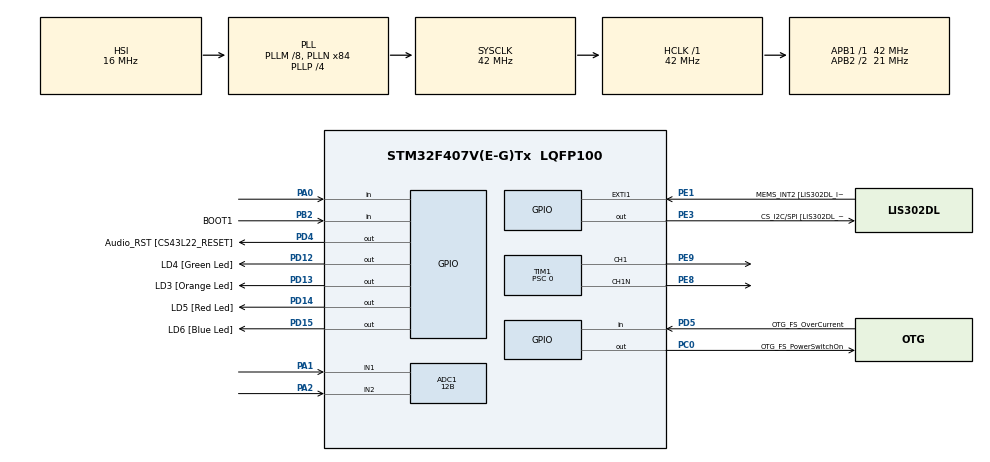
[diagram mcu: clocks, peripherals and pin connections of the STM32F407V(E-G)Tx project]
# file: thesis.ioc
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PA11.GPIO_Speed=GPIO_SPEED_FREQ_LOW
PD12.GPIO_Label=LD4 [Green Led]
PH0-OSC_IN.Signal=RCC_OSC_IN
PC10.GPIO_PuPd=GPIO_NOPULL
PB10.GPIO_PuPd=GPIO_NOPULL
TIM1.Pulse-PWM\ Generation1\ CH1\ CH1N=210
PA10.GPIO_PuPd=GPIO_NOPULL
PC12.Signal=I2S3_SD
PA14.GPIO_Label=SWCLK
PA6.GPIO_Label=SPI1_MISO [LIS302DL_SDO]
PB6.GPIO_Label=Audio_SCL [CS43L22_SCL]
PC15-OSC32_OUT.GPIO_Label=PC15-OSC32_OUT
RCC.SYSCLKSource=RCC_SYSCLKSOURCE_PLLCLK
PC3.GPIO_Speed=GPIO_SPEED_FREQ_LOW
PA6.GPIO_Mode=GPIO_MODE_AF_PP
PD14.GPIO_Speed=GPIO_SPEED_FREQ_LOW
PD4.Signal=GPIO_Output
RCC.APB2TimFreq_Value=42000000
Dma.ADC1.0.Direction=DMA_PERIPH_TO_MEMORY
PB6.Signal=I2C1_SCL
ADC1.Channel-2\#ChannelRegularConversion=ADC_CHANNEL_2
PC7.Signal=I2S3_MCK
ADC1.InjNumberOfConversion=0
PC3.Signal=I2S2_SD
PE1.Signal=GPXTI1
Dma.ADC1.0.MemDataAlignment=DMA_MDATAALIGN_HALFWORD
PB2.Signal=GPIO_Input
PE9.Signal=S_TIM1_CH1
PA5.GPIO_PuPd=GPIO_NOPULL
Dma.ADC1.0.PeriphInc=DMA_PINC_DISABLE
TIM1.DeadTime=5
NVIC.TIM2_IRQn=true\:0\:0\:false\:false\:true\:true\:true
PD5.GPIO_Mode=GPIO_MODE_INPUT
PD14.GPIO_PuPd=GPIO_NOPULL
PB2.GPIO_PuPd=GPIO_NOPULL
VP_TIM1_VS_ClockSourceINT.Mode=Internal
Mcu.Package=LQFP100
PB9.Signal=I2C1_SDA
TIM2.Prescaler=42
PD12.Signal=GPIO_Output
PA10.Signal=USB_OTG_FS_ID
PB9.GPIO_PuPd=GPIO_NOPULL
RCC.APB2CLKDivider=RCC_HCLK_DIV2
RCC.APB1TimFreq_Value=42000000
Dma.ADC1.0.FIFOMode=DMA_FIFOMODE_DISABLE
TIM1.Period=420
PC12.GPIO_PuPd=GPIO_NOPULL
PA6.GPIO_Speed=GPIO_SPEED_FREQ_LOW
PA12.GPIO_PuPd=GPIO_NOPULL
PA4.GPIO_Label=I2S3_WS [CS43L22_LRCK]
ADC1.EOCSelection=ADC_EOC_SEQ_CONV
PD15.Signal=GPIO_Output
PC0.PinState=GPIO_PIN_SET
TIM1.OCPolarity_1=TIM_OCPOLARITY_HIGH
Dma.ADC1.0.Instance=DMA2_Stream0
PA9.GPIO_Label=VBUS_FS
PB6.GPIO_PuPd=GPIO_NOPULL
PA11.GPIO_Label=OTG_FS_DM
PE1.GPIO_PuPd=GPIO_NOPULL
TIM1.Channel-PWM\ Generation1\ CH1\ CH1N=TIM_CHANNEL_1
PC0.Signal=GPIO_Output
PC14-OSC32_IN.Signal=RCC_OSC32_IN
PA0-WKUP.Signal=GPIO_Input
PE8.Mode=PWM Generation1 CH1 CH1N
TIM1.AutoReloadPreload=TIM_AUTORELOAD_PRELOAD_ENABLE
PC10.GPIO_Mode=GPIO_MODE_AF_PP
PB10.GPIO_Mode=GPIO_MODE_AF_PP
Dma.ADC1.0.Priority=DMA_PRIORITY_MEDIUM
PA9.Signal=USB_OTG_FS_VBUS
PC7.GPIO_PuPd=GPIO_NOPULL
PB10.Signal=I2S2_CK
PA5.Signal=SPI1_SCK
PE1.GPIO_Label=MEMS_INT2 [LIS302DL_INT2]
PA7.GPIO_Speed=GPIO_SPEED_FREQ_LOW
PB2.GPIO_Mode=GPIO_MODE_INPUT
PE8.Signal=TIM1_CH1N
PD4.GPIO_Speed=GPIO_SPEED_FREQ_LOW
PE3.GPIO_PuPd=GPIO_NOPULL
PH1-OSC_OUT.GPIO_Label=PH1-OSC_OUT
ADC1.DMAContinuousRequests=DISABLE
TIM2.Period=100
ADC1.ExternalTrigConv=ADC_EXTERNALTRIGCONV_T2_TRGO
PC7.GPIO_Label=I2S3_MCK [CS43L22_MCLK]
ADC1.SamplingTime-1\#ChannelRegularConversion=ADC_SAMPLETIME_3CYCLES
PA4.Signal=I2S3_WS
PC12.GPIO_Mode=GPIO_MODE_AF_PP
ADC1.master=1
PA5.GPIO_Label=SPI1_SCK [LIS302DL_SCL/SPC]
PE3.GPIO_Speed=GPIO_SPEED_FREQ_LOW
PC12.GPIO_Label=I2S3_SD [CS43L22_SDIN]
ADC1.Rank-1\#ChannelRegularConversion=1
PA11.Signal=USB_OTG_FS_DM
ProjectManager.HeapSize=0x200
NVIC.PriorityGroup=NVIC_PRIORITYGROUP_0
PE3.Signal=GPIO_Output
PC3.GPIO_Label=PDM_OUT [MP45DT02_DOUT]
PB6.GPIO_Speed=GPIO_SPEED_FREQ_LOW
Mcu.Family=STM32F4
PC3.GPIO_Mode=GPIO_MODE_AF_PP
RCC.CortexFreq_Value=42000000
PB10.GPIO_Speed=GPIO_SPEED_FREQ_LOW
PB6.GPIO_Mode=GPIO_MODE_AF_OD
ADC1.ContinuousConvMode=DISABLE
SH.ADCx_IN2.0=ADC1_IN2,IN2
PD15.GPIO_Speed=GPIO_SPEED_FREQ_LOW
PC10.Signal=I2S3_CK
PA7.GPIO_Mode=GPIO_MODE_AF_PP
PC0.GPIO_Label=OTG_FS_PowerSwitchOn
PC10.GPIO_Speed=GPIO_SPEED_FREQ_LOW
PA11.GPIO_PuPd=GPIO_NOPULL
ProjectManager.StackSize=0x400
PD13.Signal=GPIO_Output
NVIC.ADC_IRQn=true\:0\:0\:false\:false\:true\:true\:true
PA12.Signal=USB_OTG_FS_DP
TIM1.Prescaler=0
RCC.HCLKFreq_Value=42000000
ADC1.Resolution=ADC_RESOLUTION_12B
NVIC.DMA2_Stream0_IRQn=true\:0\:0\:false\:false\:true\:false\:true
RCC.AHBFreq_Value=42000000
PH0-OSC_IN.GPIO_Label=PH0-OSC_IN
PA9.GPIO_Mode=GPIO_MODE_INPUT
RCC.HSE_VALUE=8000000
PA4.GPIO_PuPd=GPIO_NOPULL
PA4.GPIO_Speed=GPIO_SPEED_FREQ_LOW
PA6.GPIO_PuPd=GPIO_NOPULL
ADC1.Rank-2\#ChannelRegularConversion=2
PA10.GPIO_Label=OTG_FS_ID
PC7.GPIO_Mode=GPIO_MODE_AF_PP
PD13.GPIO_Label=LD3 [Orange Led]
PA6.Signal=SPI1_MISO
PD5.GPIO_Label=OTG_FS_OverCurrent
PD15.GPIO_PuPd=GPIO_NOPULL
PA10.GPIO_Speed=GPIO_SPEED_FREQ_LOW
TIM2.TIM_MasterOutputTrigger=TIM_TRGO_UPDATE
SH.ADCx_IN1.0=ADC1_IN1,IN1
PB9.GPIO_Speed=GPIO_SPEED_FREQ_LOW
PC14-OSC32_IN.GPIO_Label=PC14-OSC32_IN
PC0.GPIO_PuPd=GPIO_NOPULL
Dma.Request0=ADC1
PA12.GPIO_Speed=GPIO_SPEED_FREQ_LOW
PB3.GPIO_Label=SWO
PD12.GPIO_Speed=GPIO_SPEED_FREQ_LOW
PD15.GPIO_Label=LD6 [Blue Led]
PB9.GPIO_Label=Audio_SDA [CS43L22_SDA]
PC10.GPIO_Label=I2S3_SCK [CS43L22_SCLK]
ADC1.DiscontinuousConvMode=DISABLE
PD5.Signal=GPIO_Input
PE1.GPIO_ModeDefaultEXTI=GPIO_MODE_EVT_RISING
PA9.GPIO_PuPd=GPIO_NOPULL
PA12.GPIO_Label=OTG_FS_DP
ADC1.SamplingTime-2\#ChannelRegularConversion=ADC_SAMPLETIME_3CYCLES
PA10.GPIO_Mode=GPIO_MODE_AF_PP
PA13.Signal=SYS_JTMS-SWDIO
PD4.GPIO_PuPd=GPIO_NOPULL
Dma.ADC1.0.PeriphDataAlignment=DMA_PDATAALIGN_HALFWORD
PC0.GPIO_Speed=GPIO_SPEED_FREQ_LOW
SH.S_TIM1_CH1.0=TIM1_CH1,PWM Generation1 CH1 CH1N
ProjectManager.TargetToolchain=STM32CubeIDE
PB10.GPIO_Label=CLK_IN [MP45DT02_CLK]
Dma.ADC1.0.Mode=DMA_NORMAL
ADC1.Channel-1\#ChannelRegularConversion=ADC_CHANNEL_1
RCC.LSE_VALUE=32768
PC15-OSC32_OUT.Signal=RCC_OSC32_OUT
PA1.Signal=ADCx_IN1
PA7.GPIO_PuPd=GPIO_NOPULL
board=STM32F407G-DISC1
PD13.GPIO_Speed=GPIO_SPEED_FREQ_LOW
PC7.GPIO_Speed=GPIO_SPEED_FREQ_LOW
RCC.VCOOutputFreq_Value=168000000
TIM1.OCNPolarity_1=TIM_OCNPOLARITY_HIGH
PB9.GPIO_Mode=GPIO_MODE_AF_OD
PA12.GPIO_Mode=GPIO_MODE_AF_PP
PA4.GPIO_Mode=GPIO_MODE_AF_PP
RCC.APB2Freq_Value=21000000
VP_TIM2_VS_ClockSourceINT.Mode=Internal
PD4.GPIO_Label=Audio_RST [CS43L22_RESET]
PH1-OSC_OUT.Signal=RCC_OSC_OUT
PD13.GPIO_PuPd=GPIO_NOPULL
PD5.GPIO_PuPd=GPIO_NOPULL
PD14.GPIO_Label=LD5 [Red Led]
ADC1.NbrOfConversion=2
Mcu.Name=STM32F407V(E-G)Tx
PA13.GPIO_Label=SWDIO
PA2.Signal=ADCx_IN2
PD14.Signal=GPIO_Output
RCC.48MHZClocksFreq_Value=24000000
PB3.Signal=SYS_JTDO-SWO
RCC.SYSCLKFreq_VALUE=42000000
PA7.GPIO_Label=SPI1_MOSI [LIS302DL_SDA/SDI/SDO]
PA14.Signal=SYS_JTCK-SWCLK
Dma.ADC1.0.MemInc=DMA_MINC_ENABLE
PB2.GPIO_Label=BOOT1
RCC.HSI_VALUE=16000000
RCC.PLLP=RCC_PLLP_DIV4
PA5.GPIO_Speed=GPIO_SPEED_FREQ_LOW
RCC.PLLQ=7
ADC1.NbrOfConversionFlag=1
RCC.PLLM=8
RCC.PLLN=84
PE3.GPIO_Label=CS_I2C/SPI [LIS302DL_CS_I2C/SPI]
PA11.GPIO_Mode=GPIO_MODE_AF_PP
RCC.APB1Freq_Value=42000000
PA5.GPIO_Mode=GPIO_MODE_AF_PP
PC12.GPIO_Speed=GPIO_SPEED_FREQ_LOW
PC3.GPIO_PuPd=GPIO_NOPULL
PD12.GPIO_PuPd=GPIO_NOPULL
PA7.Signal=SPI1_MOSI

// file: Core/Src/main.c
/* USER CODE BEGIN Header */
/**
  ******************************************************************************
  * @file           : main.c
  * @brief          : Main program body
  ******************************************************************************
  * @attention
  *
  * <h2><center>&copy; Copyright (c) 2021 STMicroelectronics.
  * All rights reserved.</center></h2>
  *
  * This software component is licensed by ST under BSD 3-Clause license,
  * the "License"; You may not use this file except in compliance with the
  * License. You may obtain a copy of the License at:
  *                        opensource.org/licenses/BSD-3-Clause
  *
  ******************************************************************************
  */
/* USER CODE END Header */
#include "main.h"

/* USER CODE BEGIN Includes */
#include "pwm_control.h"
#include "pid.h"
#include "pv.h"
/* USER CODE END Includes */

/* USER CODE BEGIN PD */
#define LENGTH_BUF 3
/* USER CODE END PD */

ADC_HandleTypeDef hadc1;
DMA_HandleTypeDef hdma_adc1;

TIM_HandleTypeDef htim1;
TIM_HandleTypeDef htim2;

/* USER CODE BEGIN PV */

uint16_t adc_raw_data[LENGTH_BUF] = {0};
float control_val;

uint16_t adc_output_current = 0;
uint16_t adc_output_voltage = 0;
uint16_t adc_input_voltage = 0;

float real_output_current = 0;
float real_output_voltage = 0;
float real_input_voltage = 0;

uint16_t adc_output_current_addr = 0;
uint16_t adc_output_voltage_addr = 0;
uint16_t adc_input_voltage_addr = 0;

// REFS //
float ref_output_current = 0;

// Create a PV object
PVpanel pv_panel;
float v_oc 	= 40;
float i_sc 	= 8.5;
float v_mp 	= 35;
float i_mp 	= 8;
float G 	= 1000;
float T 	= 25;

// Create the PID object
PIDController pid_controller;

/* USER CODE END PV */

void SystemClock_Config(void);
static void MX_GPIO_Init(void);
static void MX_DMA_Init(void);
static void MX_TIM1_Init(void);
static void MX_ADC1_Init(void);
static void MX_TIM2_Init(void);

int main(void)
{
  /* USER CODE BEGIN 1 */

  // PV model initialization
  pv_panel.is_initialized = false;
  PVModelInit(&pv_panel, v_oc, i_sc, v_mp, i_mp, G, T);

  // PID controller initialization
  // Set up PID gains
  pid_controller.Kp = 0.041;
  pid_controller.Ki = 4.12;
  pid_controller.Kd = 0.0;

  pid_controller.T = 0.0001; // 10kHz sampling frequency

  pid_controller.limMin = 0.00;
  pid_controller.limMax = 0.99;

  pid_controller.limMinInt = 0.00;
  pid_controller.limMaxInt = 0.99;

  // Initialize the controller
  PIDController_Init(&pid_controller);

  /* USER CODE END 1 */

  /* MCU Configuration--------------------------------------------------------*/

  /* Reset of all peripherals, Initializes the Flash interface and the Systick. */
  HAL_Init();

  /* Configure the system clock */
  SystemClock_Config();

  /* Initialize all configured peripherals */
  MX_GPIO_Init();
  MX_DMA_Init();
  MX_TIM1_Init();
  MX_ADC1_Init();
  MX_TIM2_Init();
  /* USER CODE BEGIN 2 */

  //HAL_TIM_Base_Start_DMA(&htim2, (uint16_t *)adc_raw_data, LENGTH_BUF);
  HAL_TIM_Base_Start(&htim2);

  HAL_ADC_Start_DMA(&hadc1, (uint32_t *)adc_raw_data, LENGTH_BUF);

  HAL_TIM_PWM_Start(&htim1, TIM_CHANNEL_1);
  HAL_TIMEx_PWMN_Start(&htim1, TIM_CHANNEL_1);

  // INIT PWM
  PWM_SetPercentage(0.5f, &htim1);

  /* USER CODE END 2 */

  /* Infinite loop */
  while (1)
  {

    /* USER CODE BEGIN 3 */
	  //__HAL_TIM_SET_COMPARE(&htim1, TIM_CHANNEL_1, duty_cycle);

	  //HAL_GPIO_TogglePin(GPIOD, GPIO_PIN_12);
	  //HAL_Delay(500);

  }
  /* USER CODE END 3 */
}

void SystemClock_Config(void)
{
  RCC_OscInitTypeDef RCC_OscInitStruct = {0};
  RCC_ClkInitTypeDef RCC_ClkInitStruct = {0};

  /** Configure the main internal regulator output voltage
  */
  __HAL_RCC_PWR_CLK_ENABLE();
  __HAL_PWR_VOLTAGESCALING_CONFIG(PWR_REGULATOR_VOLTAGE_SCALE1);
  /** Initializes the RCC Oscillators according to the specified parameters
  * in the RCC_OscInitTypeDef structure.
  */
  RCC_OscInitStruct.OscillatorType = RCC_OSCILLATORTYPE_HSI;
  RCC_OscInitStruct.HSIState = RCC_HSI_ON;
  RCC_OscInitStruct.HSICalibrationValue = RCC_HSICALIBRATION_DEFAULT;
  RCC_OscInitStruct.PLL.PLLState = RCC_PLL_ON;
  RCC_OscInitStruct.PLL.PLLSource = RCC_PLLSOURCE_HSI;
  RCC_OscInitStruct.PLL.PLLM = 8;
  RCC_OscInitStruct.PLL.PLLN = 84;
  RCC_OscInitStruct.PLL.PLLP = RCC_PLLP_DIV4;
  RCC_OscInitStruct.PLL.PLLQ = 7;
  if (HAL_RCC_OscConfig(&RCC_OscInitStruct) != HAL_OK)
  {
    Error_Handler();
  }
  /** Initializes the CPU, AHB and APB buses clocks
  */
  RCC_ClkInitStruct.ClockType = RCC_CLOCKTYPE_HCLK|RCC_CLOCKTYPE_SYSCLK
                              |RCC_CLOCKTYPE_PCLK1|RCC_CLOCKTYPE_PCLK2;
  RCC_ClkInitStruct.SYSCLKSource = RCC_SYSCLKSOURCE_PLLCLK;
  RCC_ClkInitStruct.AHBCLKDivider = RCC_SYSCLK_DIV1;
  RCC_ClkInitStruct.APB1CLKDivider = RCC_HCLK_DIV1;
  RCC_ClkInitStruct.APB2CLKDivider = RCC_HCLK_DIV2;

  if (HAL_RCC_ClockConfig(&RCC_ClkInitStruct, FLASH_LATENCY_1) != HAL_OK)
  {
    Error_Handler();
  }
}

static void MX_ADC1_Init(void)
{

  ADC_ChannelConfTypeDef sConfig = {0};

  /** Configure the global features of the ADC (Clock, Resolution, Data Alignment and number of conversion)
  */
  hadc1.Instance = ADC1;
  hadc1.Init.ClockPrescaler = ADC_CLOCK_SYNC_PCLK_DIV2;
  hadc1.Init.Resolution = ADC_RESOLUTION_12B;
  hadc1.Init.ScanConvMode = ENABLE;
  hadc1.Init.ContinuousConvMode = DISABLE;
  hadc1.Init.DiscontinuousConvMode = DISABLE;
  hadc1.Init.ExternalTrigConvEdge = ADC_EXTERNALTRIGCONVEDGE_RISING;
  hadc1.Init.ExternalTrigConv = ADC_EXTERNALTRIGCONV_T2_TRGO;
  hadc1.Init.DataAlign = ADC_DATAALIGN_RIGHT;
  hadc1.Init.NbrOfConversion = 3;
  hadc1.Init.DMAContinuousRequests = DISABLE;
  hadc1.Init.EOCSelection = ADC_EOC_SEQ_CONV;
  if (HAL_ADC_Init(&hadc1) != HAL_OK)
  {
    Error_Handler();
  }
  /** Configure for the selected ADC regular channel its corresponding rank in the sequencer and its sample time.
  */
  sConfig.Channel = ADC_CHANNEL_1;
  sConfig.Rank = 1;
  sConfig.SamplingTime = ADC_SAMPLETIME_3CYCLES;
  if (HAL_ADC_ConfigChannel(&hadc1, &sConfig) != HAL_OK)
  {
    Error_Handler();
  }
  /** Configure for the selected ADC regular channel its corresponding rank in the sequencer and its sample time.
  */
  sConfig.Channel = ADC_CHANNEL_2;
  sConfig.Rank = 2;
  if (HAL_ADC_ConfigChannel(&hadc1, &sConfig) != HAL_OK)
  {
    Error_Handler();
  }
  /** Configure for the selected ADC regular channel its corresponding rank in the sequencer and its sample time.
  */
  sConfig.Channel = ADC_CHANNEL_3;
  sConfig.Rank = 3;
  if (HAL_ADC_ConfigChannel(&hadc1, &sConfig) != HAL_OK)
  {
    Error_Handler();
  }

}

static void MX_TIM1_Init(void)
{

  TIM_ClockConfigTypeDef sClockSourceConfig = {0};
  TIM_MasterConfigTypeDef sMasterConfig = {0};
  TIM_OC_InitTypeDef sConfigOC = {0};
  TIM_BreakDeadTimeConfigTypeDef sBreakDeadTimeConfig = {0};

  htim1.Instance = TIM1;
  htim1.Init.Prescaler = 0;
  htim1.Init.CounterMode = TIM_COUNTERMODE_UP;
  htim1.Init.Period = 420;
  htim1.Init.ClockDivision = TIM_CLOCKDIVISION_DIV1;
  htim1.Init.RepetitionCounter = 0;
  htim1.Init.AutoReloadPreload = TIM_AUTORELOAD_PRELOAD_ENABLE;
  if (HAL_TIM_Base_Init(&htim1) != HAL_OK)
  {
    Error_Handler();
  }
  sClockSourceConfig.ClockSource = TIM_CLOCKSOURCE_INTERNAL;
  if (HAL_TIM_ConfigClockSource(&htim1, &sClockSourceConfig) != HAL_OK)
  {
    Error_Handler();
  }
  if (HAL_TIM_PWM_Init(&htim1) != HAL_OK)
  {
    Error_Handler();
  }
  sMasterConfig.MasterOutputTrigger = TIM_TRGO_RESET;
  sMasterConfig.MasterSlaveMode = TIM_MASTERSLAVEMODE_DISABLE;
  if (HAL_TIMEx_MasterConfigSynchronization(&htim1, &sMasterConfig) != HAL_OK)
  {
    Error_Handler();
  }
  sConfigOC.OCMode = TIM_OCMODE_PWM2;
  sConfigOC.Pulse = 210;
  sConfigOC.OCPolarity = TIM_OCPOLARITY_HIGH;
  sConfigOC.OCNPolarity = TIM_OCNPOLARITY_HIGH;
  sConfigOC.OCFastMode = TIM_OCFAST_DISABLE;
  sConfigOC.OCIdleState = TIM_OCIDLESTATE_RESET;
  sConfigOC.OCNIdleState = TIM_OCNIDLESTATE_RESET;
  if (HAL_TIM_PWM_ConfigChannel(&htim1, &sConfigOC, TIM_CHANNEL_1) != HAL_OK)
  {
    Error_Handler();
  }
  sBreakDeadTimeConfig.OffStateRunMode = TIM_OSSR_DISABLE;
  sBreakDeadTimeConfig.OffStateIDLEMode = TIM_OSSI_DISABLE;
  sBreakDeadTimeConfig.LockLevel = TIM_LOCKLEVEL_OFF;
  sBreakDeadTimeConfig.DeadTime = 3;
  sBreakDeadTimeConfig.BreakState = TIM_BREAK_DISABLE;
  sBreakDeadTimeConfig.BreakPolarity = TIM_BREAKPOLARITY_HIGH;
  sBreakDeadTimeConfig.AutomaticOutput = TIM_AUTOMATICOUTPUT_DISABLE;
  if (HAL_TIMEx_ConfigBreakDeadTime(&htim1, &sBreakDeadTimeConfig) != HAL_OK)
  {
    Error_Handler();
  }
  HAL_TIM_MspPostInit(&htim1);

}

static void MX_TIM2_Init(void)
{

  TIM_ClockConfigTypeDef sClockSourceConfig = {0};
  TIM_MasterConfigTypeDef sMasterConfig = {0};

  htim2.Instance = TIM2;
  htim2.Init.Prescaler = 42;
  htim2.Init.CounterMode = TIM_COUNTERMODE_UP;
  htim2.Init.Period = 100;
  htim2.Init.ClockDivision = TIM_CLOCKDIVISION_DIV1;
  htim2.Init.AutoReloadPreload = TIM_AUTORELOAD_PRELOAD_DISABLE;
  if (HAL_TIM_Base_Init(&htim2) != HAL_OK)
  {
    Error_Handler();
  }
  sClockSourceConfig.ClockSource = TIM_CLOCKSOURCE_INTERNAL;
  if (HAL_TIM_ConfigClockSource(&htim2, &sClockSourceConfig) != HAL_OK)
  {
    Error_Handler();
  }
  sMasterConfig.MasterOutputTrigger = TIM_TRGO_UPDATE;
  sMasterConfig.MasterSlaveMode = TIM_MASTERSLAVEMODE_DISABLE;
  if (HAL_TIMEx_MasterConfigSynchronization(&htim2, &sMasterConfig) != HAL_OK)
  {
    Error_Handler();
  }

}

static void MX_DMA_Init(void)
{

  /* DMA controller clock enable */
  __HAL_RCC_DMA2_CLK_ENABLE();

  /* DMA interrupt init */
  /* DMA2_Stream0_IRQn interrupt configuration */
  HAL_NVIC_SetPriority(DMA2_Stream0_IRQn, 0, 0);
  HAL_NVIC_EnableIRQ(DMA2_Stream0_IRQn);

}

static void MX_GPIO_Init(void)
{
  GPIO_InitTypeDef GPIO_InitStruct = {0};

  /* GPIO Ports Clock Enable */
  __HAL_RCC_GPIOE_CLK_ENABLE();
  __HAL_RCC_GPIOC_CLK_ENABLE();
  __HAL_RCC_GPIOH_CLK_ENABLE();
  __HAL_RCC_GPIOA_CLK_ENABLE();
  __HAL_RCC_GPIOB_CLK_ENABLE();
  __HAL_RCC_GPIOD_CLK_ENABLE();

  /*Configure GPIO pin Output Level */
  HAL_GPIO_WritePin(CS_I2C_SPI_GPIO_Port, CS_I2C_SPI_Pin, GPIO_PIN_RESET);

  /*Configure GPIO pin Output Level */
  HAL_GPIO_WritePin(OTG_FS_PowerSwitchOn_GPIO_Port, OTG_FS_PowerSwitchOn_Pin, GPIO_PIN_SET);

  /*Configure GPIO pin Output Level */
  HAL_GPIO_WritePin(GPIOD, LD4_Pin|LD3_Pin|LD5_Pin|LD6_Pin
                          |Audio_RST_Pin, GPIO_PIN_RESET);

  /*Configure GPIO pin : CS_I2C_SPI_Pin */
  GPIO_InitStruct.Pin = CS_I2C_SPI_Pin;
  GPIO_InitStruct.Mode = GPIO_MODE_OUTPUT_PP;
  GPIO_InitStruct.Pull = GPIO_NOPULL;
  GPIO_InitStruct.Speed = GPIO_SPEED_FREQ_LOW;
  HAL_GPIO_Init(CS_I2C_SPI_GPIO_Port, &GPIO_InitStruct);

  /*Configure GPIO pin : OTG_FS_PowerSwitchOn_Pin */
  GPIO_InitStruct.Pin = OTG_FS_PowerSwitchOn_Pin;
  GPIO_InitStruct.Mode = GPIO_MODE_OUTPUT_PP;
  GPIO_InitStruct.Pull = GPIO_NOPULL;
  GPIO_InitStruct.Speed = GPIO_SPEED_FREQ_LOW;
  HAL_GPIO_Init(OTG_FS_PowerSwitchOn_GPIO_Port, &GPIO_InitStruct);

  /*Configure GPIO pin : PDM_OUT_Pin */
  GPIO_InitStruct.Pin = PDM_OUT_Pin;
  GPIO_InitStruct.Mode = GPIO_MODE_AF_PP;
  GPIO_InitStruct.Pull = GPIO_NOPULL;
  GPIO_InitStruct.Speed = GPIO_SPEED_FREQ_LOW;
  GPIO_InitStruct.Alternate = GPIO_AF5_SPI2;
  HAL_GPIO_Init(PDM_OUT_GPIO_Port, &GPIO_InitStruct);

  /*Configure GPIO pin : PA0 */
  GPIO_InitStruct.Pin = GPIO_PIN_0;
  GPIO_InitStruct.Mode = GPIO_MODE_INPUT;
  GPIO_InitStruct.Pull = GPIO_NOPULL;
  HAL_GPIO_Init(GPIOA, &GPIO_InitStruct);

  /*Configure GPIO pin : I2S3_WS_Pin */
  GPIO_InitStruct.Pin = I2S3_WS_Pin;
  GPIO_InitStruct.Mode = GPIO_MODE_AF_PP;
  GPIO_InitStruct.Pull = GPIO_NOPULL;
  GPIO_InitStruct.Speed = GPIO_SPEED_FREQ_LOW;
  GPIO_InitStruct.Alternate = GPIO_AF6_SPI3;
  HAL_GPIO_Init(I2S3_WS_GPIO_Port, &GPIO_InitStruct);

  /*Configure GPIO pins : SPI1_SCK_Pin SPI1_MISO_Pin SPI1_MOSI_Pin */
  GPIO_InitStruct.Pin = SPI1_SCK_Pin|SPI1_MISO_Pin|SPI1_MOSI_Pin;
  GPIO_InitStruct.Mode = GPIO_MODE_AF_PP;
  GPIO_InitStruct.Pull = GPIO_NOPULL;
  GPIO_InitStruct.Speed = GPIO_SPEED_FREQ_LOW;
  GPIO_InitStruct.Alternate = GPIO_AF5_SPI1;
  HAL_GPIO_Init(GPIOA, &GPIO_InitStruct);

  /*Configure GPIO pin : BOOT1_Pin */
  GPIO_InitStruct.Pin = BOOT1_Pin;
  GPIO_InitStruct.Mode = GPIO_MODE_INPUT;
  GPIO_InitStruct.Pull = GPIO_NOPULL;
  HAL_GPIO_Init(BOOT1_GPIO_Port, &GPIO_InitStruct);

  /*Configure GPIO pin : CLK_IN_Pin */
  GPIO_InitStruct.Pin = CLK_IN_Pin;
  GPIO_InitStruct.Mode = GPIO_MODE_AF_PP;
  GPIO_InitStruct.Pull = GPIO_NOPULL;
  GPIO_InitStruct.Speed = GPIO_SPEED_FREQ_LOW;
  GPIO_InitStruct.Alternate = GPIO_AF5_SPI2;
  HAL_GPIO_Init(CLK_IN_GPIO_Port, &GPIO_InitStruct);

  /*Configure GPIO pins : LD4_Pin LD3_Pin LD5_Pin LD6_Pin
                           Audio_RST_Pin */
  GPIO_InitStruct.Pin = LD4_Pin|LD3_Pin|LD5_Pin|LD6_Pin
                          |Audio_RST_Pin;
  GPIO_InitStruct.Mode = GPIO_MODE_OUTPUT_PP;
  GPIO_InitStruct.Pull = GPIO_NOPULL;
  GPIO_InitStruct.Speed = GPIO_SPEED_FREQ_LOW;
  HAL_GPIO_Init(GPIOD, &GPIO_InitStruct);

  /*Configure GPIO pins : I2S3_MCK_Pin I2S3_SCK_Pin I2S3_SD_Pin */
  GPIO_InitStruct.Pin = I2S3_MCK_Pin|I2S3_SCK_Pin|I2S3_SD_Pin;
  GPIO_InitStruct.Mode = GPIO_MODE_AF_PP;
  GPIO_InitStruct.Pull = GPIO_NOPULL;
  GPIO_InitStruct.Speed = GPIO_SPEED_FREQ_LOW;
  GPIO_InitStruct.Alternate = GPIO_AF6_SPI3;
  HAL_GPIO_Init(GPIOC, &GPIO_InitStruct);

  /*Configure GPIO pin : VBUS_FS_Pin */
  GPIO_InitStruct.Pin = VBUS_FS_Pin;
  GPIO_InitStruct.Mode = GPIO_MODE_INPUT;
  GPIO_InitStruct.Pull = GPIO_NOPULL;
  HAL_GPIO_Init(VBUS_FS_GPIO_Port, &GPIO_InitStruct);

  /*Configure GPIO pins : OTG_FS_ID_Pin OTG_FS_DM_Pin OTG_FS_DP_Pin */
  GPIO_InitStruct.Pin = OTG_FS_ID_Pin|OTG_FS_DM_Pin|OTG_FS_DP_Pin;
  GPIO_InitStruct.Mode = GPIO_MODE_AF_PP;
  GPIO_InitStruct.Pull = GPIO_NOPULL;
  GPIO_InitStruct.Speed = GPIO_SPEED_FREQ_LOW;
  GPIO_InitStruct.Alternate = GPIO_AF10_OTG_FS;
  HAL_GPIO_Init(GPIOA, &GPIO_InitStruct);

  /*Configure GPIO pin : OTG_FS_OverCurrent_Pin */
  GPIO_InitStruct.Pin = OTG_FS_OverCurrent_Pin;
  GPIO_InitStruct.Mode = GPIO_MODE_INPUT;
  GPIO_InitStruct.Pull = GPIO_NOPULL;
  HAL_GPIO_Init(OTG_FS_OverCurrent_GPIO_Port, &GPIO_InitStruct);

  /*Configure GPIO pins : Audio_SCL_Pin Audio_SDA_Pin */
  GPIO_InitStruct.Pin = Audio_SCL_Pin|Audio_SDA_Pin;
  GPIO_InitStruct.Mode = GPIO_MODE_AF_OD;
  GPIO_InitStruct.Pull = GPIO_PULLUP;
  GPIO_InitStruct.Speed = GPIO_SPEED_FREQ_LOW;
  GPIO_InitStruct.Alternate = GPIO_AF4_I2C1;
  HAL_GPIO_Init(GPIOB, &GPIO_InitStruct);

  /*Configure GPIO pin : MEMS_INT2_Pin */
  GPIO_InitStruct.Pin = MEMS_INT2_Pin;
  GPIO_InitStruct.Mode = GPIO_MODE_EVT_RISING;
  GPIO_InitStruct.Pull = GPIO_NOPULL;
  HAL_GPIO_Init(MEMS_INT2_GPIO_Port, &GPIO_InitStruct);

}

/* USER CODE BEGIN 4 */
void HAL_ADC_ConvCpltCallback(ADC_HandleTypeDef* hadc)
{
  /* Prevent unused argument(s) compilation warning */
  UNUSED(hadc);
  /* NOTE : This function Should not be modified, when the callback is needed,
            the HAL_ADC_ConvCpltCallback could be implemented in the user file
   */
  //adc_val = (uint16_t)HAL_ADC_GetValue(&hadc1);

  //double pot1_double = ((double)adc_raw_data[0] / 4096) * 420;

  //uint16_t pot1_value = (uint16_t)pot1_double;

  // Current 	-> adc_raw_data[0]
  // Vout 		-> adc_raw_data[1]
  // Vin		-> adc_raw_data[2]
  adc_output_current 	= adc_raw_data[0];
  adc_output_voltage 	= adc_raw_data[1];
  adc_input_voltage 	= adc_raw_data[2];

  real_output_voltage 	= (float)adc_output_voltage / 87.3;
  real_output_current	= (float)adc_output_current / 410.61;

  //ref_output_current = 4; // Test value of 1 Ampere
  ref_output_current	= PVModelGetCurrentFromVoltage(&pv_panel, real_output_voltage);

  control_val = PIDController_Update(&pid_controller, ref_output_current, real_output_current);

  PWM_SetPercentage(control_val, &htim1);

  //__HAL_TIM_SET_COMPARE(&htim1, TIM_CHANNEL_1, control_val);

  //HAL_GPIO_TogglePin(GPIOD, GPIO_PIN_12);
  HAL_ADC_Start_DMA(&hadc1, (uint32_t *)adc_raw_data, LENGTH_BUF);
}

/* USER CODE END 4 */

void Error_Handler(void)
{
  __disable_irq();
  while (1)
  {
  }
}

/************************ (C) COPYRIGHT STMicroelectronics *****END OF FILE****/
